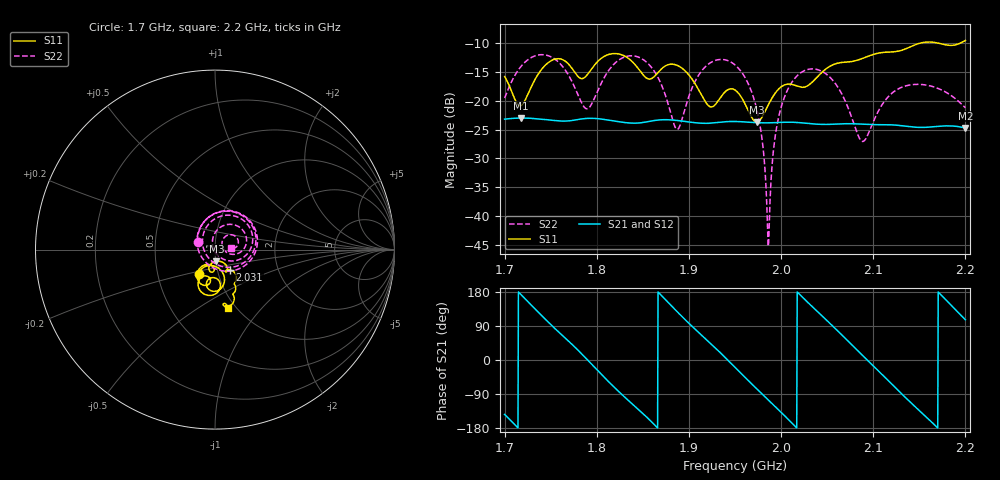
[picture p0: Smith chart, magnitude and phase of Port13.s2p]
# Hz S RI R 50
! CMT, CMT808U, 21440046, 21.4.3/4
! Date: 11/17/2025 2:53:11 PM
! Data: Format (Calibration Info)
! Freq	S11:Re/Im(F2)	S41:Re/Im(F2)	S14:Re/Im(F2)	S44:Re/Im(F2)
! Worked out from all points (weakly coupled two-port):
!   1001 points, 1.7 GHz to 2.2 GHz, reference 50 ohm
!   highest |S21| = -22.99 dB at 1.718 GHz (marker M1); lowest = -24.7 dB at 2.2 GHz (marker M2)
!   lowest |S11| = -23.7 dB at 1.974 GHz (marker M3), VSWR 1.14, Z = 50.4 - j6.56 ohm
!   |S11| at or under -10 dB: start of sweep to 2.15 GHz; 2.172 GHz to 2.194 GHz (22.21 MHz wide, 1.02 % of centre)
!   |S22| runs from -45.3 to -12.0 dB; largest |S21 - S12| = 0.00018
!   S11 on the Smith chart (normalised r, x): 1.7 GHz: 0.81, -0.23; 2.031 GHz: 1.15, -0.26; 2.2 GHz: 0.91, -0.67
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1.7e9  -0.0879 -0.1367  -0.0558 -0.0412  -0.0559 -0.0411  -0.097 0.0421
1.7175e9  -0.0102 -0.09  -0.0704 0.0082  -0.0705 0.00834  -0.00937 0.1977
1.752e9  0.0212 -0.2256  0.00107 0.0677  0.00118 0.0677  0.2357 0.0304
1.7835e9  -0.0104 -0.1558  0.0668 0.0198  0.0668 0.0197  -0.0237 -0.0933
1.823e9  -0.0545 -0.2506  0.00997 -0.0652  0.00988 -0.0653  0.0643 0.2144
1.8455e9  -0.0874 -0.1674  -0.0423 -0.0482  -0.0424 -0.0482  0.226 0.0796
1.867e9  -0.0254 -0.1766  -0.0682 0.00219  -0.0682 0.0023  0.1282 -0.0897
1.8875e9  -0.0866 -0.1837  -0.0403 0.0541  -0.0403 0.0542  -0.049 -0.0281
1.916e9  -0.059 -0.0857  0.0315 0.0554  0.0316 0.0554  0.038 0.1875
1.95e9  -0.0285 -0.1209  0.0624 -0.0222  0.0623 -0.0223  0.2044 0.0198
1.9735e9  0.00787 -0.0648  0.0159 -0.0626  0.0158 -0.0627  0.0616 -0.059
1.9795e9  0.0303 -0.0661  0.000336 -0.0644  0.000238 -0.0644  0.0236 -0.0389
1.9865e9  0.0527 -0.0772  -0.0177 -0.0619  -0.0178 -0.0619  -0.00577 -0.00017
1.9925e9  0.0655 -0.0923  -0.0323 -0.056  -0.0324 -0.0559  -0.0145 0.0396
2e9  0.0698 -0.1125  -0.0482 -0.0437  -0.0483 -0.0436  -0.00317 0.0876
2.0315e9  0.0836 -0.1125  -0.0526 0.0353  -0.0525 0.0354  0.1567 0.1059
2.0335e9  0.089 -0.1141  -0.0494 0.0393  -0.0493 0.0394  0.163 0.097
2.06e9  0.116 -0.1764  0.0106 0.0619  0.0107 0.0619  0.1364 -0.0176
2.088e9  0.1135 -0.2039  0.0611 0.0141  0.0611 0.014  0.0426 0.0127
2.117e9  0.1001 -0.2462  0.0348 -0.0512  0.0347 -0.0513  0.0741 0.0816
2.156e9  0.0835 -0.3125  -0.0493 -0.0321  -0.0494 -0.032  0.13 0.0453
2.2e9  0.0705 -0.3277  -0.0163 0.0558  -0.0162 0.0558  0.0866 0.00892
